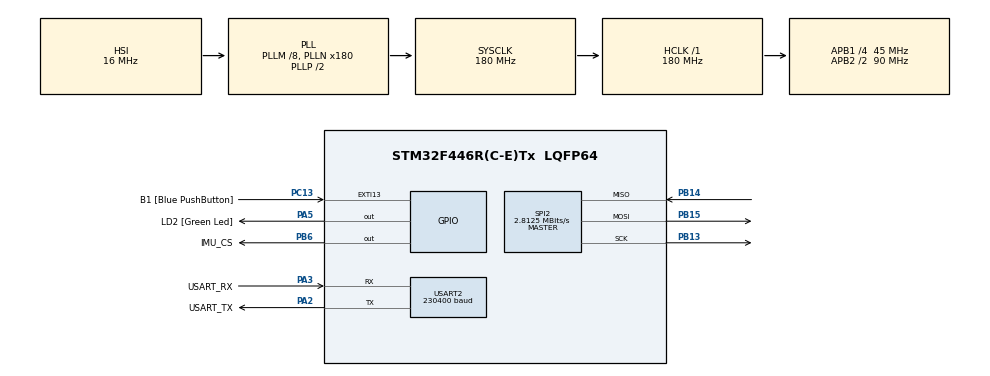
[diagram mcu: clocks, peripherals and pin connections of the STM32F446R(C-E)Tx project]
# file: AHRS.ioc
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Mcu.Family=STM32F4
Mcu.Name=STM32F446R(C-E)Tx
Mcu.Package=LQFP64
NVIC.PriorityGroup=NVIC_PRIORITYGROUP_0
NVIC.TIM2_IRQn=true\:0\:0\:false\:false\:true\:true\:true\:true
PA13.GPIO_Label=TMS
PA13.Signal=SYS_JTMS-SWDIO
PA14.GPIO_Label=TCK
PA14.Signal=SYS_JTCK-SWCLK
PA2.GPIO_Label=USART_TX
PA2.Mode=Asynchronous
PA2.Signal=USART2_TX
PA3.GPIO_Label=USART_RX
PA3.Mode=Asynchronous
PA3.Signal=USART2_RX
PA5.GPIO_Label=LD2 [Green Led]
PA5.Signal=GPIO_Output
PB13.Mode=Full_Duplex_Master
PB13.Signal=SPI2_SCK
PB14.Mode=Full_Duplex_Master
PB14.Signal=SPI2_MISO
PB15.Mode=Full_Duplex_Master
PB15.Signal=SPI2_MOSI
PB3.GPIO_Label=SWO
PB3.Signal=SYS_JTDO-SWO
PB6.GPIO_Label=IMU_CS
PB6.GPIO_PuPd=GPIO_NOPULL
PB6.GPIO_Speed=GPIO_SPEED_FREQ_HIGH
PB6.PinState=GPIO_PIN_SET
PB6.Signal=GPIO_Output
PC13.GPIO_Label=B1 [Blue PushButton]
PC13.GPIO_ModeDefaultEXTI=GPIO_MODE_IT_FALLING
PC13.Signal=GPXTI13
PC14-OSC32_IN.Signal=RCC_OSC32_IN
PC15-OSC32_OUT.Signal=RCC_OSC32_OUT
PH0-OSC_IN.Signal=RCC_OSC_IN
PH1-OSC_OUT.Signal=RCC_OSC_OUT
ProjectManager.HeapSize=0x200
ProjectManager.StackSize=0x400
ProjectManager.TargetToolchain=STM32CubeIDE
RCC.AHBFreq_Value=180000000
RCC.APB1CLKDivider=RCC_HCLK_DIV4
RCC.APB1Freq_Value=45000000
RCC.APB1TimFreq_Value=90000000
RCC.APB2CLKDivider=RCC_HCLK_DIV2
RCC.APB2Freq_Value=90000000
RCC.APB2TimFreq_Value=180000000
RCC.CortexFreq_Value=180000000
RCC.FLatency-AdvancedSettings=FLASH_LATENCY_5
RCC.HCLKFreq_Value=180000000
RCC.HSE_VALUE=8000000
RCC.HSI_VALUE=16000000
RCC.LSE_VALUE=32768
RCC.PLLM=8
RCC.PLLN=180
RCC.SYSCLKFreq_VALUE=180000000
RCC.SYSCLKSource=RCC_SYSCLKSOURCE_PLLCLK
RCC.USBFreq_Value=180000000
RCC.VCOOutputFreq_Value=360000000
SPI2.BaudRatePrescaler=SPI_BAUDRATEPRESCALER_16
SPI2.CLKPhase=SPI_PHASE_2EDGE
SPI2.CLKPolarity=SPI_POLARITY_HIGH
SPI2.CalculateBaudRate=2.8125 MBits/s
SPI2.Direction=SPI_DIRECTION_2LINES
SPI2.Mode=SPI_MODE_MASTER
SPI2.VirtualType=VM_MASTER
TIM2.AutoReloadPreload=TIM_AUTORELOAD_PRELOAD_ENABLE
TIM2.Period=99
TIM2.Prescaler=8999
USART2.BaudRate=230400
USART2.VirtualMode=VM_ASYNC
VP_TIM2_VS_ClockSourceINT.Mode=Internal
board=NUCLEO-F446RE

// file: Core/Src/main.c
/* USER CODE BEGIN Header */
/**
  ******************************************************************************
  * @file           : main.c
  * @brief          : Main program body
  ******************************************************************************
  * @attention
  *
  * Copyright (c) 2026 STMicroelectronics.
  * All rights reserved.
  *
  * This software is licensed under terms that can be found in the LICENSE file
  * in the root directory of this software component.
  * If no LICENSE file comes with this software, it is provided AS-IS.
  *
  ******************************************************************************
  */
/* USER CODE END Header */
#include "main.h"

/* USER CODE BEGIN Includes */
#include "ism330dhcx.h"
#include <stdio.h>
#include <string.h>
/* USER CODE END Includes */

/* USER CODE BEGIN PD */
/* Output register block. Reading from OUT_TEMP_L picks up temperature,
   gyro and accel in a single 14-byte burst (IF_INC is set by CTRL3_C). */
#define ISM_OUT_TEMP_L      0x20
#define ISM_BURST_BYTES     14
#define ISM_SPI_READ        0x80
/* USER CODE END PD */

SPI_HandleTypeDef hspi2;

TIM_HandleTypeDef htim2;

UART_HandleTypeDef huart2;

/* USER CODE BEGIN PV */
static volatile uint8_t  imu_sample_ready = 0;
static volatile uint32_t sample_n = 0;      /* incremented in the ISR, not the
                                               main loop, so a missed timer tick
                                               shows up as a counter gap on the
                                               host instead of vanishing */
static char uart_buf[96];

/* Raw sensor counts for one sample. No scaling on the MCU - the host applies
   the scale factors during analysis. */
typedef struct {
    int16_t temp;
    int16_t g[3];
    int16_t a[3];
} ISM330DHCX_Raw;
/* USER CODE END PV */

void SystemClock_Config(void);
static void MX_GPIO_Init(void);
static void MX_SPI2_Init(void);
static void MX_TIM2_Init(void);
static void MX_USART2_UART_Init(void);
/* USER CODE BEGIN PFP */
static void ISM330DHCX_ReadRaw(ISM330DHCX_Raw *out);
/* USER CODE END PFP */

/* USER CODE BEGIN 0 */
void HAL_TIM_PeriodElapsedCallback(TIM_HandleTypeDef *htim)
{
    if (htim->Instance == TIM2) {
        sample_n++;
        imu_sample_ready = 1;
    }
}

/**
  * @brief Burst-read temperature + gyro + accel in one SPI transaction.
  *
  * Register layout (ISM330DHCX, little-endian - low byte first):
  *   0x20/0x21  OUT_TEMP_L/H
  *   0x22..0x27 OUTX/Y/Z_L/H_G
  *   0x28..0x2D OUTX/Y/Z_L/H_A
  */
static void ISM330DHCX_ReadRaw(ISM330DHCX_Raw *out)
{
    uint8_t tx[1 + ISM_BURST_BYTES] = { ISM_OUT_TEMP_L | ISM_SPI_READ };
    uint8_t rx[1 + ISM_BURST_BYTES];

    HAL_GPIO_WritePin(IMU_CS_GPIO_Port, IMU_CS_Pin, GPIO_PIN_RESET);
    HAL_SPI_TransmitReceive(&hspi2, tx, rx, sizeof(tx), HAL_MAX_DELAY);
    HAL_GPIO_WritePin(IMU_CS_GPIO_Port, IMU_CS_Pin, GPIO_PIN_SET);

    out->temp = (int16_t)((uint16_t)rx[2]  << 8 | rx[1]);
    out->g[0] = (int16_t)((uint16_t)rx[4]  << 8 | rx[3]);
    out->g[1] = (int16_t)((uint16_t)rx[6]  << 8 | rx[5]);
    out->g[2] = (int16_t)((uint16_t)rx[8]  << 8 | rx[7]);
    out->a[0] = (int16_t)((uint16_t)rx[10] << 8 | rx[9]);
    out->a[1] = (int16_t)((uint16_t)rx[12] << 8 | rx[11]);
    out->a[2] = (int16_t)((uint16_t)rx[14] << 8 | rx[13]);
}
/* USER CODE END 0 */

int main(void)
{

  /* MCU Configuration--------------------------------------------------------*/

  /* Reset of all peripherals, Initializes the Flash interface and the Systick. */
  HAL_Init();

  /* Configure the system clock */
  SystemClock_Config();

  /* Initialize all configured peripherals */
  MX_GPIO_Init();
  MX_SPI2_Init();
  MX_TIM2_Init();
  MX_USART2_UART_Init();
  /* USER CODE BEGIN 2 */
  const char *boot_msg = "UART OK - starting IMU init...\r\n";
  HAL_UART_Transmit(&huart2, (uint8_t *)boot_msg, strlen(boot_msg), HAL_MAX_DELAY);

  uint8_t who = ISM330DHCX_ReadReg(ISM330DHCX_WHO_AM_I);
  char who_msg[64];
  int who_len = snprintf(who_msg, sizeof(who_msg),
      "WHO_AM_I: 0x%02X (expect 0x6B)\r\n", who);

  uint32_t bad = 0;
  for (uint32_t i = 0; i < 1000u; i++) {
      if (ISM330DHCX_ReadReg(ISM330DHCX_WHO_AM_I) != ISM330DHCX_WHO_AM_I_VAL) {
          bad++;
      }
      HAL_Delay(10);          /* same spacing as the capture loop */
  }
  char chk[64];
  int chk_len = snprintf(chk, sizeof(chk), "SPI check: %lu / 10000 bad\r\n",
                         (unsigned long)bad);
  HAL_UART_Transmit(&huart2, (uint8_t *)chk, chk_len, HAL_MAX_DELAY);
  HAL_UART_Transmit(&huart2, (uint8_t *)who_msg, who_len, HAL_MAX_DELAY);

  if (ISM330DHCX_Init() != HAL_OK) {
      while (1) {
          HAL_GPIO_TogglePin(LD2_GPIO_Port, LD2_Pin);
          HAL_Delay(100);   /* fast blink = WHO_AM_I mismatch / SPI wiring issue */
      }
  }

  /* CSV column order, matching allan_logger.py:
       n,gx,gy,gz,ax,ay,az,temp                                            */
  const char *hdr = "# n,gx,gy,gz,ax,ay,az,temp (raw counts)\r\n";
  HAL_UART_Transmit(&huart2, (uint8_t *)hdr, strlen(hdr), HAL_MAX_DELAY);

  HAL_TIM_Base_Start_IT(&htim2);

  /* USER CODE END 2 */

  /* Infinite loop */
  /* USER CODE BEGIN WHILE */
  while (1)
  {
      if (imu_sample_ready) {
          imu_sample_ready = 0;
          uint32_t n = sample_n;

          ISM330DHCX_Raw raw;
          ISM330DHCX_ReadRaw(&raw);

          int len = snprintf(uart_buf, sizeof(uart_buf),
              "%lu,%d,%d,%d,%d,%d,%d,%d\r\n",
              (unsigned long)n,
              raw.g[0], raw.g[1], raw.g[2],
              raw.a[0], raw.a[1], raw.a[2],
              raw.temp);

          HAL_UART_Transmit(&huart2, (uint8_t *)uart_buf, len, HAL_MAX_DELAY);

          /* 1 Hz heartbeat - a glance at the board confirms the run is alive */
          if ((n % 50u) == 0u) {
              HAL_GPIO_TogglePin(LD2_GPIO_Port, LD2_Pin);
          }
      }
    /* USER CODE END WHILE */

  }
}

void SystemClock_Config(void)
{
  RCC_OscInitTypeDef RCC_OscInitStruct = {0};
  RCC_ClkInitTypeDef RCC_ClkInitStruct = {0};

  /** Configure the main internal regulator output voltage
  */
  __HAL_RCC_PWR_CLK_ENABLE();
  __HAL_PWR_VOLTAGESCALING_CONFIG(PWR_REGULATOR_VOLTAGE_SCALE1);

  /** Initializes the RCC Oscillators according to the specified parameters
  * in the RCC_OscInitTypeDef structure.
  */
  RCC_OscInitStruct.OscillatorType = RCC_OSCILLATORTYPE_HSI;
  RCC_OscInitStruct.HSIState = RCC_HSI_ON;
  RCC_OscInitStruct.HSICalibrationValue = RCC_HSICALIBRATION_DEFAULT;
  RCC_OscInitStruct.PLL.PLLState = RCC_PLL_ON;
  RCC_OscInitStruct.PLL.PLLSource = RCC_PLLSOURCE_HSI;
  RCC_OscInitStruct.PLL.PLLM = 8;
  RCC_OscInitStruct.PLL.PLLN = 180;
  RCC_OscInitStruct.PLL.PLLP = RCC_PLLP_DIV2;
  RCC_OscInitStruct.PLL.PLLQ = 2;
  RCC_OscInitStruct.PLL.PLLR = 2;
  if (HAL_RCC_OscConfig(&RCC_OscInitStruct) != HAL_OK)
  {
    Error_Handler();
  }

  /** Activate the Over-Drive mode
  */
  if (HAL_PWREx_EnableOverDrive() != HAL_OK)
  {
    Error_Handler();
  }

  /** Initializes the CPU, AHB and APB buses clocks
  */
  RCC_ClkInitStruct.ClockType = RCC_CLOCKTYPE_HCLK|RCC_CLOCKTYPE_SYSCLK
                              |RCC_CLOCKTYPE_PCLK1|RCC_CLOCKTYPE_PCLK2;
  RCC_ClkInitStruct.SYSCLKSource = RCC_SYSCLKSOURCE_PLLCLK;
  RCC_ClkInitStruct.AHBCLKDivider = RCC_SYSCLK_DIV1;
  RCC_ClkInitStruct.APB1CLKDivider = RCC_HCLK_DIV4;
  RCC_ClkInitStruct.APB2CLKDivider = RCC_HCLK_DIV2;

  if (HAL_RCC_ClockConfig(&RCC_ClkInitStruct, FLASH_LATENCY_5) != HAL_OK)
  {
    Error_Handler();
  }
}

static void MX_SPI2_Init(void)
{

  /* SPI2 parameter configuration*/
  hspi2.Instance = SPI2;
  hspi2.Init.Mode = SPI_MODE_MASTER;
  hspi2.Init.Direction = SPI_DIRECTION_2LINES;
  hspi2.Init.DataSize = SPI_DATASIZE_8BIT;
  hspi2.Init.CLKPolarity = SPI_POLARITY_HIGH;
  hspi2.Init.CLKPhase = SPI_PHASE_2EDGE;
  hspi2.Init.NSS = SPI_NSS_SOFT;
  hspi2.Init.BaudRatePrescaler = SPI_BAUDRATEPRESCALER_64;
  hspi2.Init.FirstBit = SPI_FIRSTBIT_MSB;
  hspi2.Init.TIMode = SPI_TIMODE_DISABLE;
  hspi2.Init.CRCCalculation = SPI_CRCCALCULATION_DISABLE;
  hspi2.Init.CRCPolynomial = 10;
  if (HAL_SPI_Init(&hspi2) != HAL_OK)
  {
    Error_Handler();
  }

}

static void MX_TIM2_Init(void)
{

  TIM_ClockConfigTypeDef sClockSourceConfig = {0};
  TIM_MasterConfigTypeDef sMasterConfig = {0};

  htim2.Instance = TIM2;
  htim2.Init.Prescaler = 8999;
  htim2.Init.CounterMode = TIM_COUNTERMODE_UP;
  htim2.Init.Period = 99;
  htim2.Init.ClockDivision = TIM_CLOCKDIVISION_DIV1;
  htim2.Init.AutoReloadPreload = TIM_AUTORELOAD_PRELOAD_ENABLE;
  if (HAL_TIM_Base_Init(&htim2) != HAL_OK)
  {
    Error_Handler();
  }
  sClockSourceConfig.ClockSource = TIM_CLOCKSOURCE_INTERNAL;
  if (HAL_TIM_ConfigClockSource(&htim2, &sClockSourceConfig) != HAL_OK)
  {
    Error_Handler();
  }
  sMasterConfig.MasterOutputTrigger = TIM_TRGO_RESET;
  sMasterConfig.MasterSlaveMode = TIM_MASTERSLAVEMODE_DISABLE;
  if (HAL_TIMEx_MasterConfigSynchronization(&htim2, &sMasterConfig) != HAL_OK)
  {
    Error_Handler();
  }
  /* USER CODE BEGIN TIM2_Init 2 */
  HAL_NVIC_SetPriority(TIM2_IRQn, 0, 0);
  HAL_NVIC_EnableIRQ(TIM2_IRQn);
  /* USER CODE END TIM2_Init 2 */

}

static void MX_USART2_UART_Init(void)
{

  huart2.Instance = USART2;
  huart2.Init.BaudRate = 230400;
  huart2.Init.WordLength = UART_WORDLENGTH_8B;
  huart2.Init.StopBits = UART_STOPBITS_1;
  huart2.Init.Parity = UART_PARITY_NONE;
  huart2.Init.Mode = UART_MODE_TX_RX;
  huart2.Init.HwFlowCtl = UART_HWCONTROL_NONE;
  huart2.Init.OverSampling = UART_OVERSAMPLING_16;
  if (HAL_UART_Init(&huart2) != HAL_OK)
  {
    Error_Handler();
  }

}

static void MX_GPIO_Init(void)
{
  GPIO_InitTypeDef GPIO_InitStruct = {0};

  /* GPIO Ports Clock Enable */
  __HAL_RCC_GPIOC_CLK_ENABLE();
  __HAL_RCC_GPIOH_CLK_ENABLE();
  __HAL_RCC_GPIOA_CLK_ENABLE();
  __HAL_RCC_GPIOB_CLK_ENABLE();

  /*Configure GPIO pin Output Level */
  HAL_GPIO_WritePin(LD2_GPIO_Port, LD2_Pin, GPIO_PIN_RESET);

  /*Configure GPIO pin Output Level */
  HAL_GPIO_WritePin(IMU_CS_GPIO_Port, IMU_CS_Pin, GPIO_PIN_SET);

  /*Configure GPIO pin : B1_Pin */
  GPIO_InitStruct.Pin = B1_Pin;
  GPIO_InitStruct.Mode = GPIO_MODE_IT_FALLING;
  GPIO_InitStruct.Pull = GPIO_NOPULL;
  HAL_GPIO_Init(B1_GPIO_Port, &GPIO_InitStruct);

  /*Configure GPIO pin : LD2_Pin */
  GPIO_InitStruct.Pin = LD2_Pin;
  GPIO_InitStruct.Mode = GPIO_MODE_OUTPUT_PP;
  GPIO_InitStruct.Pull = GPIO_NOPULL;
  GPIO_InitStruct.Speed = GPIO_SPEED_FREQ_LOW;
  HAL_GPIO_Init(LD2_GPIO_Port, &GPIO_InitStruct);

  /*Configure GPIO pin : IMU_CS_Pin */
  GPIO_InitStruct.Pin = IMU_CS_Pin;
  GPIO_InitStruct.Mode = GPIO_MODE_OUTPUT_PP;
  GPIO_InitStruct.Pull = GPIO_NOPULL;
  GPIO_InitStruct.Speed = GPIO_SPEED_FREQ_HIGH;
  HAL_GPIO_Init(IMU_CS_GPIO_Port, &GPIO_InitStruct);

}

void Error_Handler(void)
{
  __disable_irq();
  while (1)
  {
  }
}
